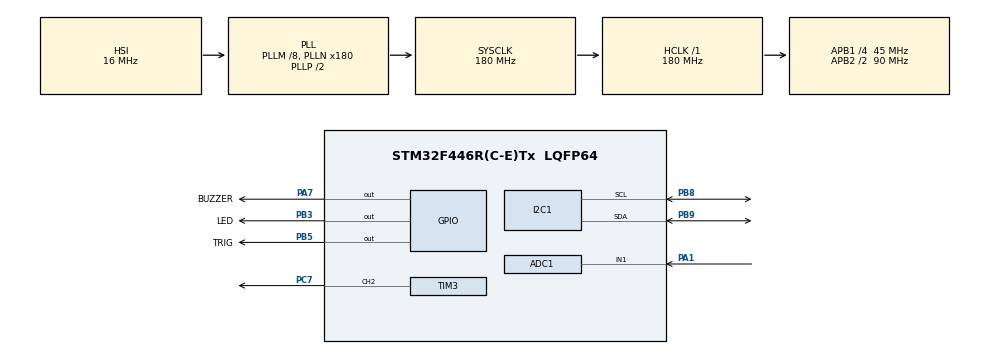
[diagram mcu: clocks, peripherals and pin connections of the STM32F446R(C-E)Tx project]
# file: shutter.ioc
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ADC1.Channel-1\#ChannelRegularConversion=ADC_CHANNEL_1
ADC1.ContinuousConvMode=ENABLE
ADC1.NbrOfConversionFlag=1
ADC1.Rank-1\#ChannelRegularConversion=1
ADC1.SamplingTime-1\#ChannelRegularConversion=ADC_SAMPLETIME_56CYCLES
ADC1.master=1
I2C1.I2C_Mode=I2C_Fast
Mcu.Family=STM32F4
Mcu.Name=STM32F446R(C-E)Tx
Mcu.Package=LQFP64
NVIC.PriorityGroup=NVIC_PRIORITYGROUP_4
PA1.Signal=ADCx_IN1
PA7.GPIO_Label=BUZZER
PA7.Signal=GPIO_Output
PB3.GPIO_Label=LED
PB3.Signal=GPIO_Output
PB5.GPIO_Label=TRIG
PB5.Signal=GPIO_Output
PB8.Mode=I2C
PB8.Signal=I2C1_SCL
PB9.Mode=I2C
PB9.Signal=I2C1_SDA
PC7.Signal=S_TIM3_CH2
PH0-OSC_IN.Mode=HSE-External-Oscillator
PH0-OSC_IN.Signal=RCC_OSC_IN
PH1-OSC_OUT.Mode=HSE-External-Oscillator
PH1-OSC_OUT.Signal=RCC_OSC_OUT
ProjectManager.HeapSize=0x200
ProjectManager.StackSize=0x400
ProjectManager.TargetToolchain=STM32CubeIDE
RCC.AHBFreq_Value=180000000
RCC.APB1CLKDivider=RCC_HCLK_DIV4
RCC.APB1Freq_Value=45000000
RCC.APB1TimFreq_Value=90000000
RCC.APB2CLKDivider=RCC_HCLK_DIV2
RCC.APB2Freq_Value=90000000
RCC.APB2TimFreq_Value=180000000
RCC.CortexFreq_Value=180000000
RCC.HCLKFreq_Value=180000000
RCC.PLLM=8
RCC.PLLN=180
RCC.SYSCLKFreq_VALUE=180000000
RCC.SYSCLKSource=RCC_SYSCLKSOURCE_PLLCLK
RCC.USBFreq_Value=180000000
RCC.VCOOutputFreq_Value=360000000
SH.ADCx_IN1.0=ADC1_IN1,IN1
SH.S_TIM3_CH2.0=TIM3_CH2,PWM Generation2 CH2
TIM3.Channel-PWM\ Generation2\ CH2=TIM_CHANNEL_2
TIM3.Period=1999
TIM3.Prescaler=1799
board=custom

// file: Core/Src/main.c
/* USER CODE BEGIN Header */
/**
  ******************************************************************************
  * @file           : main.c
  * @brief          : Smart Door - Servo (PC7) Fine-Tuned Calibration
  ******************************************************************************
  */
/* USER CODE END Header */

#include "main.h"
#include <stdio.h>
#include "ssd1306.h"
#include "fonts.h"

ADC_HandleTypeDef hadc1;
I2C_HandleTypeDef hi2c1;
TIM_HandleTypeDef htim3;

/* USER CODE BEGIN PV */
uint32_t adc_val = 0;
uint32_t servo_pulse = 0;
char buffer[32];

// FINE-TUNED CALIBRATION
// Standard is 50. We are using 30 to shift the starting position "left".
#define SERVO_MIN_PULSE 30
#define SERVO_MAX_PULSE 230
/* USER CODE END PV */

void SystemClock_Config(void);
static void MX_GPIO_Init(void);
static void MX_I2C1_Init(void);
static void MX_ADC1_Init(void);
static void MX_TIM3_Init(void);

/* USER CODE BEGIN PFP */
long map(long x, long in_min, long in_max, long out_min, long out_max);
/* USER CODE END PFP */

/* USER CODE BEGIN 0 */
long map(long x, long in_min, long in_max, long out_min, long out_max) {
  return (x - in_min) * (out_max - out_min) / (in_max - in_min) + out_min;
}
/* USER CODE END 0 */

int main(void)
{
  HAL_Init();
  SystemClock_Config();

  /* Initialize all configured peripherals */
  MX_GPIO_Init();
  MX_I2C1_Init();
  MX_ADC1_Init();
  MX_TIM3_Init();

  /* USER CODE BEGIN 2 */
  SSD1306_Init();
  HAL_TIM_PWM_Start(&htim3, TIM_CHANNEL_2);
  HAL_ADC_Start(&hadc1);

  SSD1306_Fill(0);
  SSD1306_GotoXY(10, 20);
  SSD1306_Puts("SYSTEM START", &Font_7x10, 1);
  SSD1306_UpdateScreen();
  HAL_Delay(1000);
  /* USER CODE END 2 */

  while (1)
  {
    /* 1. Fresh ADC Read */
    HAL_ADC_Start(&hadc1);
    if (HAL_ADC_PollForConversion(&hadc1, 10) == HAL_OK)
    {
        adc_val = HAL_ADC_GetValue(&hadc1);
    }
    HAL_ADC_Stop(&hadc1);

    /* 2. Map to Fine-Tuned Servo Range */
    servo_pulse = map(adc_val, 0, 4095, SERVO_MIN_PULSE, SERVO_MAX_PULSE);
    __HAL_TIM_SET_COMPARE(&htim3, TIM_CHANNEL_2, servo_pulse);

    /* 3. Update OLED Display */
    SSD1306_Fill(0);

    int angle = map(adc_val, 0, 4095, 0, 180);

    sprintf(buffer, "POT VAL: %lu", adc_val);
    SSD1306_GotoXY(5, 5);
    SSD1306_Puts(buffer, &Font_7x10, 1);

    sprintf(buffer, "DOOR: %d deg", angle);
    SSD1306_GotoXY(5, 30);
    SSD1306_Puts(buffer, &Font_11x18, 1);

    SSD1306_UpdateScreen();

    HAL_Delay(50);
  }
}

static void MX_ADC1_Init(void)
{
  ADC_ChannelConfTypeDef sConfig = {0};
  hadc1.Instance = ADC1;
  hadc1.Init.ClockPrescaler = ADC_CLOCK_SYNC_PCLK_DIV4;
  hadc1.Init.Resolution = ADC_RESOLUTION_12B;
  hadc1.Init.ScanConvMode = DISABLE;
  hadc1.Init.ContinuousConvMode = ENABLE;
  hadc1.Init.ExternalTrigConv = ADC_SOFTWARE_START;
  hadc1.Init.DataAlign = ADC_DATAALIGN_RIGHT;
  hadc1.Init.NbrOfConversion = 1;
  HAL_ADC_Init(&hadc1);

  sConfig.Channel = ADC_CHANNEL_1;
  sConfig.Rank = 1;
  sConfig.SamplingTime = ADC_SAMPLETIME_56CYCLES;
  HAL_ADC_ConfigChannel(&hadc1, &sConfig);
}

static void MX_TIM3_Init(void)
{
  TIM_OC_InitTypeDef sConfigOC = {0};
  htim3.Instance = TIM3;
  htim3.Init.Prescaler = 1799;
  htim3.Init.Period = 1999;
  HAL_TIM_PWM_Init(&htim3);
  sConfigOC.OCMode = TIM_OCMODE_PWM1;
  sConfigOC.Pulse = 0;
  sConfigOC.OCPolarity = TIM_OCPOLARITY_HIGH;
  HAL_TIM_PWM_ConfigChannel(&htim3, &sConfigOC, TIM_CHANNEL_2);
  HAL_TIM_MspPostInit(&htim3);
}

static void MX_I2C1_Init(void)
{
  hi2c1.Instance = I2C1;
  hi2c1.Init.ClockSpeed = 400000;
  hi2c1.Init.DutyCycle = I2C_DUTYCYCLE_2;
  hi2c1.Init.AddressingMode = I2C_ADDRESSINGMODE_7BIT;
  HAL_I2C_Init(&hi2c1);
}

static void MX_GPIO_Init(void)
{
  __HAL_RCC_GPIOA_CLK_ENABLE();
  __HAL_RCC_GPIOC_CLK_ENABLE();
  __HAL_RCC_GPIOB_CLK_ENABLE();
}

void SystemClock_Config(void)
{
  RCC_OscInitTypeDef RCC_OscInitStruct = {0};
  RCC_ClkInitTypeDef RCC_ClkInitStruct = {0};
  __HAL_RCC_PWR_CLK_ENABLE();
  __HAL_PWR_VOLTAGESCALING_CONFIG(PWR_REGULATOR_VOLTAGE_SCALE1);
  RCC_OscInitStruct.OscillatorType = RCC_OSCILLATORTYPE_HSI;
  RCC_OscInitStruct.HSIState = RCC_HSI_ON;
  RCC_OscInitStruct.HSICalibrationValue = RCC_HSICALIBRATION_DEFAULT;
  RCC_OscInitStruct.PLL.PLLState = RCC_PLL_ON;
  RCC_OscInitStruct.PLL.PLLSource = RCC_PLLSOURCE_HSI;
  RCC_OscInitStruct.PLL.PLLM = 8;
  RCC_OscInitStruct.PLL.PLLN = 180;
  RCC_OscInitStruct.PLL.PLLP = RCC_PLLP_DIV2;
  RCC_OscInitStruct.PLL.PLLQ = 2;
  RCC_OscInitStruct.PLL.PLLR = 2;
  HAL_RCC_OscConfig(&RCC_OscInitStruct);
  HAL_PWREx_EnableOverDrive();
  RCC_ClkInitStruct.ClockType = RCC_CLOCKTYPE_HCLK|RCC_CLOCKTYPE_SYSCLK|RCC_CLOCKTYPE_PCLK1|RCC_CLOCKTYPE_PCLK2;
  RCC_ClkInitStruct.SYSCLKSource = RCC_SYSCLKSOURCE_PLLCLK;
  RCC_ClkInitStruct.AHBCLKDivider = RCC_SYSCLK_DIV1;
  RCC_ClkInitStruct.APB1CLKDivider = RCC_HCLK_DIV4;
  RCC_ClkInitStruct.APB2CLKDivider = RCC_HCLK_DIV2;
  HAL_RCC_ClockConfig(&RCC_ClkInitStruct, FLASH_LATENCY_5);
}

void Error_Handler(void)
{
  __disable_irq();
  while (1) {}
}
